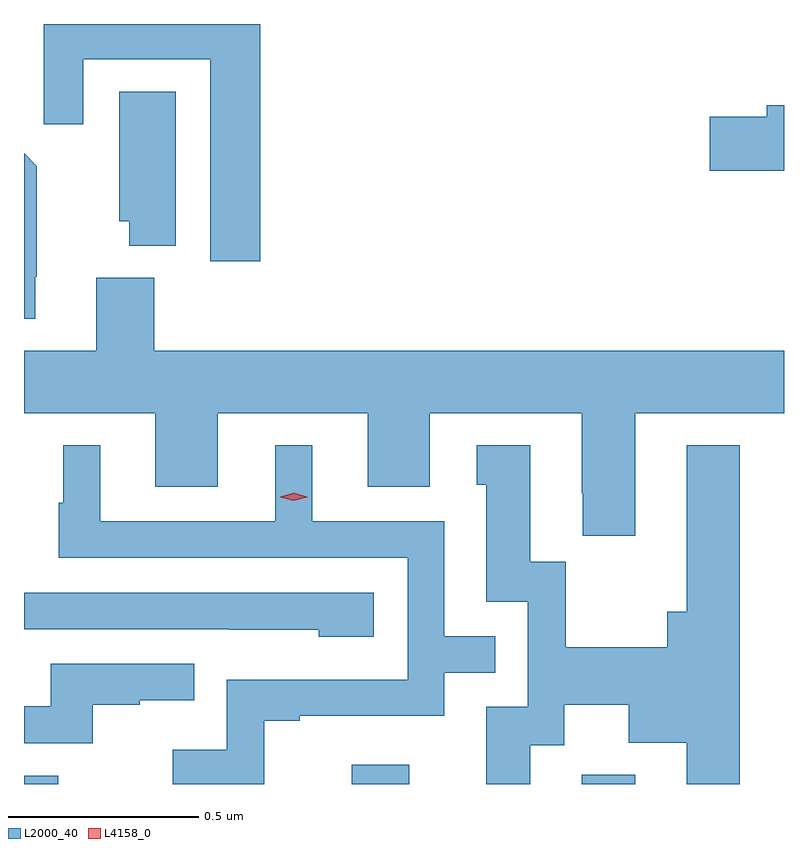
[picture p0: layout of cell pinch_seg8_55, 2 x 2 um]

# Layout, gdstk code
import gdstk
lib = gdstk.Library(unit=1e-6, precision=1e-09)
def R(c, l, rs):  # rectangles x0, y0, x1, y1
    for r in rs: c.add(gdstk.rectangle(r[:2], r[2:], *l))
def P(c, l, *ps):  # polygons
    for p in ps: c.add(gdstk.Polygon(p, *l))
L2000_40 = (2000, 40)
L4158_0 = (4158, 0)

pinch_seg8_55 = lib.new_cell('pinch_seg8_55')
R(pinch_seg8_55, L2000_40, [(927.877,1099.54,927.967,1099.562), (928.739,1099.54,928.891,1099.591), (929.345,1099.54,929.485,1099.564)])
P(pinch_seg8_55, L2000_40, [(928.499,1101.54),(927.929,1101.54),(927.929,1101.276),(928.033,1101.276),(928.033,1101.447),(928.367,1101.447),(928.367,1100.916),(928.499,1100.916)],
  [(928.276,1101.362),(928.127,1101.362),(928.127,1101.021),(928.154,1101.021),(928.154,1100.957),(928.276,1100.957)],
  [(929.877,1101.326),(929.831,1101.326),(929.831,1101.296),(929.682,1101.296),(929.682,1101.154),(929.877,1101.154)],
  [(927.907,1100.875),(927.911,1100.875),(927.911,1101.166),(927.877,1101.2),(927.877,1100.765),(927.907,1100.765)],
  [(929.485,1100.516),(929.877,1100.516),(929.877,1100.68),(928.22,1100.68),(928.22,1100.872),(928.067,1100.872),(928.067,1100.68),(927.877,1100.68),(927.877,1100.516),(928.223,1100.516),(928.223,1100.322),(928.387,1100.322),(928.387,1100.516),(928.781,1100.516),(928.781,1100.322),(928.945,1100.322),(928.945,1100.516),(929.345,1100.516),(929.345,1100.305),(929.347,1100.305),(929.347,1100.193),(929.485,1100.193)],
  [(929.209,1099.642),(929.299,1099.642),(929.299,1099.748),(929.468,1099.748),(929.468,1099.649),(929.621,1099.649),(929.621,1099.54),(929.761,1099.54),(929.761,1100.431),(929.621,1100.431),(929.621,1099.993),(929.57,1099.993),(929.57,1099.9),(929.302,1099.9),(929.302,1100.125),(929.209,1100.125),(929.209,1100.431),(929.069,1100.431),(929.069,1100.328),(929.093,1100.328),(929.093,1100.019),(929.202,1100.019),(929.202,1099.743),(929.093,1099.743),(929.093,1099.54),(929.209,1099.54)],
  [(928.509,1099.707),(928.603,1099.707),(928.603,1099.719),(928.983,1099.719),(928.983,1099.833),(929.117,1099.833),(929.117,1099.929),(928.983,1099.929),(928.983,1100.232),(928.636,1100.232),(928.636,1100.431),(928.538,1100.431),(928.538,1100.232),(928.078,1100.232),(928.078,1100.431),(927.98,1100.431),(927.98,1100.28),(927.969,1100.28),(927.969,1100.136),(928.887,1100.136),(928.887,1099.815),(928.41,1099.815),(928.41,1099.63),(928.269,1099.63),(928.269,1099.54),(928.509,1099.54)],
  [(928.798,1100.043),(927.877,1100.043),(927.877,1099.947),(928.417,1099.947),(928.417,1099.946),(928.653,1099.946),(928.653,1099.928),(928.798,1099.928)],
  [(928.058,1099.749),(928.181,1099.749),(928.181,1099.76),(928.325,1099.76),(928.325,1099.857),(927.948,1099.857),(927.948,1099.745),(927.877,1099.745),(927.877,1099.647),(928.058,1099.647)])
P(pinch_seg8_55, L4158_0, [(928.587,1100.286),(928.551,1100.295),(928.551,1100.296),(928.551,1100.296),(928.587,1100.306),(928.623,1100.296),(928.623,1100.296),(928.623,1100.295)])

lib.write_gds('pinch_seg8_55.gds')
